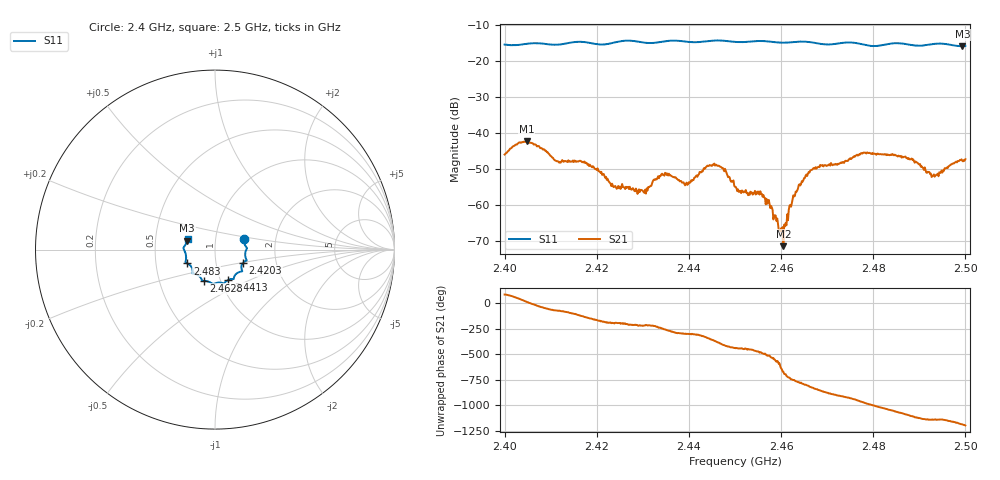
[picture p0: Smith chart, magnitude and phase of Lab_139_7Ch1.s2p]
# Hz S RI R 50
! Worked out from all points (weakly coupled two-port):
!   601 points, 2.4 GHz to 2.5 GHz, reference 50 ohm
!   highest |S21| = -42.29 dB at 2.4048 GHz (marker M1); lowest = -71.4 dB at 2.4605 GHz (marker M2)
!   lowest |S11| = -15.8 dB at 2.4993 GHz (marker M3), VSWR 1.39, Z = 36.5 + j3.72 ohm
!   |S11| at or under -10 dB: start of sweep to end of sweep
!   S12 and S22 are empty: the file has one direction only
!   S11 on the Smith chart (normalised r, x): 2.4 GHz: 1.37, +0.16; 2.4203 GHz: 1.35, -0.21; 2.4413 GHz: 1.09, -0.38; 2.4628 GHz: 0.83, -0.30; 2.483 GHz: 0.72, -0.11; 2.5 GHz: 0.73, +0.09
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2.4e9  0.161 0.0566  0.00062 0.00502  0 0  0 0
2.404833e9  0.1744 0.0138  0.00756 0.00136  0 0  0 0
2.411667e9  0.1681 -0.0281  0.000916 -0.00392  0 0  0 0
2.416667e9  0.1758 -0.0614  -0.00241 -0.00324  0 0  0 0
2.420333e9  0.1552 -0.0739  -0.00297 -0.000346  0 0  0 0
2.424e9  0.1483 -0.1081  -0.00179 0.00044  0 0  0 0
2.4285e9  0.1448 -0.1224  -0.00137 0.001  0 0  0 0
2.433333e9  0.108 -0.1485  -0.00124 0.0022  0 0  0 0
2.441333e9  0.0743 -0.1685  0.00151 0.00191  0 0  0 0
2.446e9  0.0494 -0.1883  0.00337 -0.00131  0 0  0 0
2.45e9  0.0294 -0.1837  0.000328 -0.00177  0 0  0 0
2.456e9  -0.0125 -0.1906  -0.000911 -0.000932  0 0  0 0
2.46e9  -0.0391 -0.1772  8.15e-05 0.00047  0 0  0 0
2.4605e9  -0.0437 -0.176  0.000188 0.000192  0 0  0 0
2.462833e9  -0.063 -0.1745  0.00109 -0.00074  0 0  0 0
2.466667e9  -0.0742 -0.1675  -0.00101 -0.00293  0 0  0 0
2.477833e9  -0.1243 -0.1173  -0.00148 0.00514  0 0  0 0
2.483e9  -0.1548 -0.0769  0.0039 0.00326  0 0  0 0
2.483333e9  -0.157 -0.0758  0.00414 0.00284  0 0  0 0
2.493167e9  -0.1742 0.00159  0.0012 -0.00239  0 0  0 0
2.499333e9  -0.1544 0.0496  -0.0014 -0.00388  0 0  0 0
2.5e9  -0.1527 0.0586  -0.00219 -0.00376  0 0  0 0
